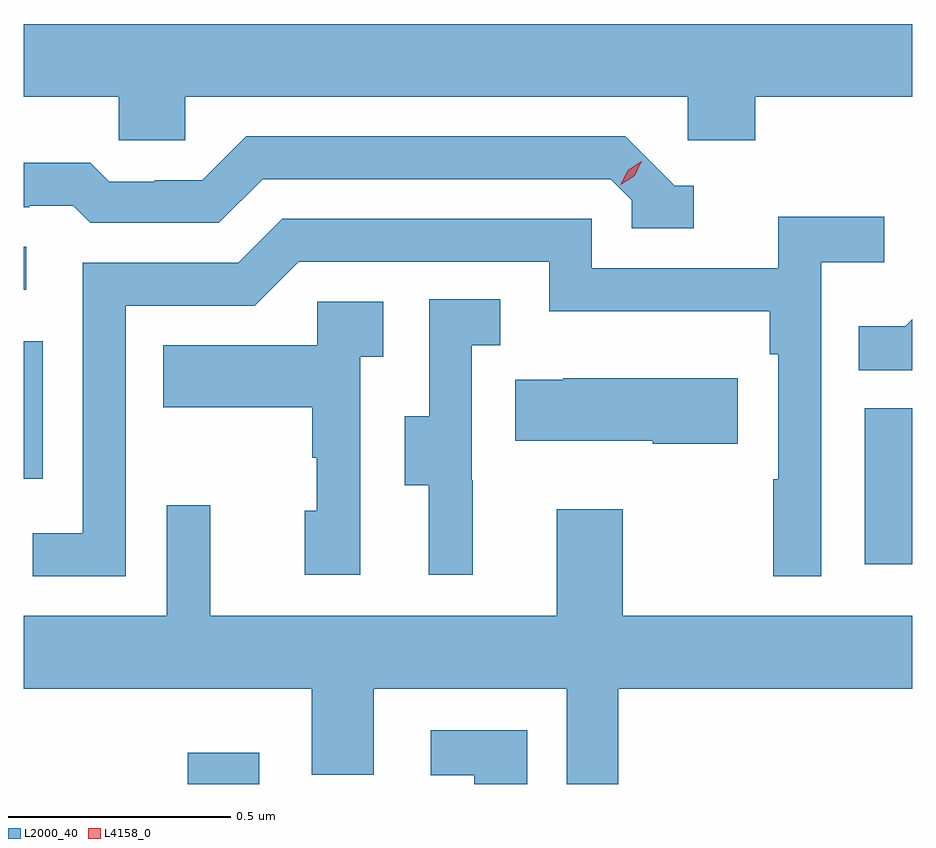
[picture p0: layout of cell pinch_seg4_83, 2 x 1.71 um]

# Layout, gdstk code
import gdstk
lib = gdstk.Library(unit=1e-6, precision=1e-09)
def R(c, l, rs):  # rectangles x0, y0, x1, y1
    for r in rs: c.add(gdstk.rectangle(r[:2], r[2:], *l))
def P(c, l, *ps):  # polygons
    for p in ps: c.add(gdstk.Polygon(p, *l))
L2000_40 = (2000, 40)
L4158_0 = (4158, 0)

pinch_seg4_83 = lib.new_cell('pinch_seg4_83')
R(pinch_seg4_83, L2000_40, [(1056.704,816.585,1056.865,816.655), (1058.228,817.08,1058.335,817.431), (1056.335,817.272,1056.378,817.582), (1056.335,817.698,1056.34,817.794)])
P(pinch_seg4_83, L2000_40, [(1056.699,818.132),(1057.83,818.132),(1057.83,818.034),(1057.982,818.034),(1057.982,818.132),(1058.335,818.132),(1058.335,818.296),(1056.335,818.296),(1056.335,818.132),(1056.549,818.132),(1056.549,818.034),(1056.699,818.034)],
  [(1057.843,817.932),(1057.8,817.932),(1057.689,818.043),(1056.836,818.043),(1056.737,817.944),(1056.63,817.944),(1056.63,817.941),(1056.527,817.941),(1056.485,817.984),(1056.335,817.984),(1056.335,817.884),(1056.347,817.884),(1056.347,817.887),(1056.446,817.887),(1056.485,817.848),(1056.774,817.848),(1056.873,817.947),(1057.656,817.947),(1057.704,817.899),(1057.704,817.836),(1057.843,817.836)],
  [(1056.564,817.662),(1056.855,817.662),(1056.954,817.761),(1057.518,817.761),(1057.518,817.649),(1058.014,817.649),(1058.014,817.553),(1058.034,817.553),(1058.034,817.271),(1058.022,817.271),(1058.022,817.053),(1058.13,817.053),(1058.13,817.76),(1058.272,817.76),(1058.272,817.862),(1058.033,817.862),(1058.033,817.746),(1057.614,817.746),(1057.614,817.857),(1056.917,817.857),(1056.818,817.758),(1056.468,817.758),(1056.468,817.149),(1056.355,817.149),(1056.355,817.053),(1056.564,817.053)],
  [(1057.346,817.269),(1057.344,817.269),(1057.344,817.573),(1057.408,817.573),(1057.408,817.676),(1057.248,817.676),(1057.248,817.413),(1057.193,817.413),(1057.193,817.258),(1057.247,817.258),(1057.247,817.056),(1057.346,817.056)],
  [(1057.092,817.547),(1057.144,817.547),(1057.144,817.671),(1056.996,817.671),(1056.996,817.573),(1056.649,817.573),(1056.649,817.433),(1056.984,817.433),(1056.984,817.319),(1056.994,817.319),(1056.994,817.2),(1056.968,817.2),(1056.968,817.056),(1057.092,817.056)],
  [(1058.335,817.631),(1058.319,817.615),(1058.215,817.615),(1058.215,817.516),(1058.335,817.516)],
  [(1057.942,817.498),(1057.549,817.498),(1057.549,817.495),(1057.441,817.495),(1057.441,817.358),(1057.751,817.358),(1057.751,817.351),(1057.942,817.351)],
  [(1057.673,816.8),(1058.335,816.8),(1058.335,816.964),(1057.683,816.964),(1057.683,817.204),(1057.535,817.204),(1057.535,816.964),(1056.755,816.964),(1056.755,817.213),(1056.657,817.213),(1056.657,816.964),(1056.335,816.964),(1056.335,816.8),(1056.983,816.8),(1056.983,816.606),(1057.123,816.606),(1057.123,816.8),(1057.557,816.8),(1057.557,816.585),(1057.673,816.585)],
  [(1057.468,816.706),(1057.251,816.706),(1057.251,816.605),(1057.349,816.605),(1057.349,816.585),(1057.468,816.585)])
P(pinch_seg4_83, L4158_0, [(1057.679,817.934),(1057.679,817.934),(1057.695,817.967),(1057.725,817.987),(1057.725,817.987),(1057.725,817.986),(1057.71,817.954),(1057.679,817.934)])

lib.write_gds('pinch_seg4_83.gds')
